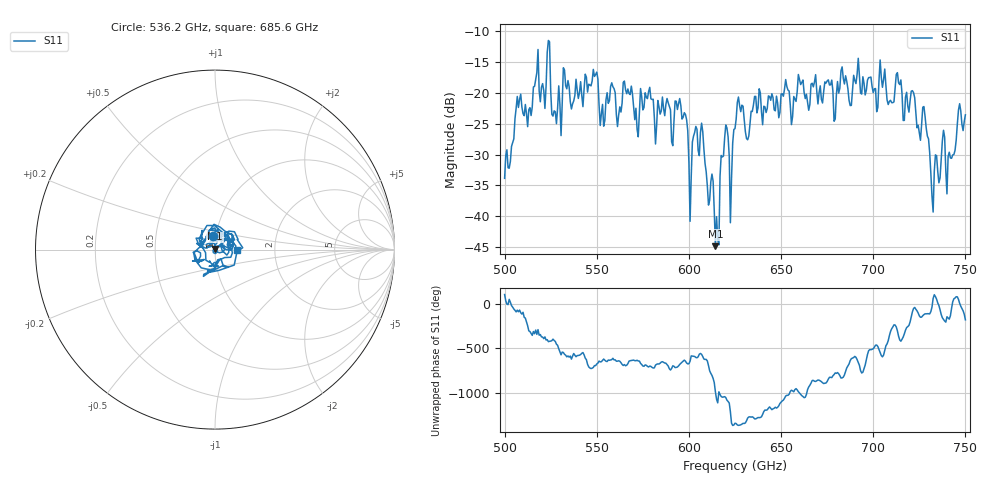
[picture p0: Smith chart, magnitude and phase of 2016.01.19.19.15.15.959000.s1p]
!Created with skrf (http://scikit-rf.org).
# GHz S RI R 50.0
!freq ReS11 ImS11
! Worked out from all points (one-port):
!   401 points, 500 GHz to 750 GHz, reference 50 ohm
!   lowest |S11| = -44.8 dB at 614.4 GHz (marker M1), VSWR 1.01, Z = 50 + j0.574 ohm
!   |S11| at or under -10 dB: start of sweep to end of sweep
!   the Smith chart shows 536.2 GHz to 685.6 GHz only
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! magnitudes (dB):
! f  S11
! 500 GHz  -33.8
! 507.5 GHz  -22.4
! 513.8 GHz  -22.4
! 516.9 GHz  -17.8
! 520.6 GHz  -18.5
! 523.8 GHz  -11.5
! 526.9 GHz  -22.9
! 531.2 GHz  -21.7
! 549.4 GHz  -17.0
! 553.1 GHz  -21.9
! 558.8 GHz  -19.0
! 562.5 GHz  -22.3
! 593.8 GHz  -22.7
! 600.6 GHz  -40.8
! 607.5 GHz  -26.3
! 614.4 GHz  -44.8
! 615.6 GHz  -43.8
! 618.8 GHz  -30.2
! 623.1 GHz  -33.8
! 625 GHz  -25.8
! 656.2 GHz  -23.8
! 660.6 GHz  -18.7
! 687.5 GHz  -22.1
! 705 GHz  -19.1
! 718.8 GHz  -22.2
! 728.1 GHz  -23.8
! 732.5 GHz  -39.3
! 750 GHz  -23.6
